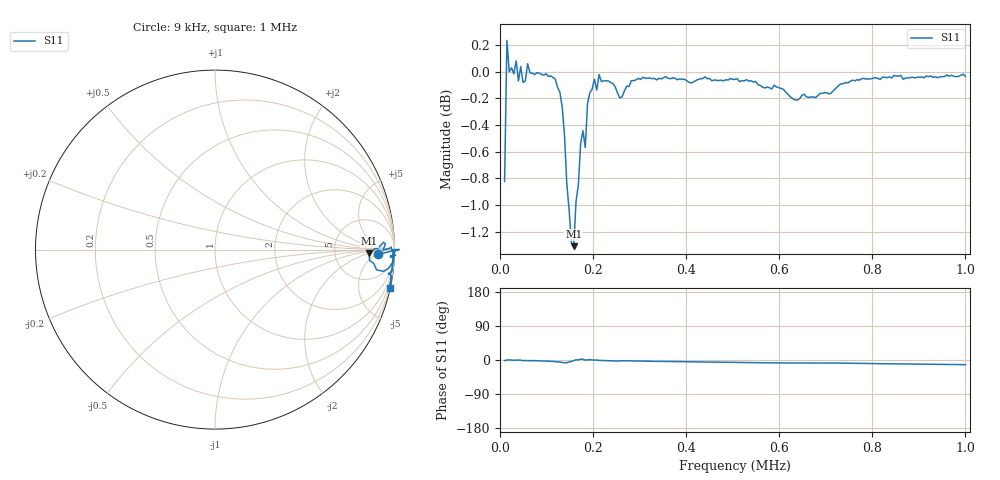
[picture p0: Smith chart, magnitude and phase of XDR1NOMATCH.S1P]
!Agilent Technologies,E5071C,MY46100305,A.07.02
!Date: Fri Jan 01 00:10:18 1988
!Data & Calibration Information:
!Freq	S11:SOLT1(ON)
# Hz S MA R 50
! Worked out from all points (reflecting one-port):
!   201 points, 9 kHz to 1 MHz, reference 50 ohm
!   lowest |S11| = -1.3 dB at 157.7 kHz (marker M1), VSWR 13.29, Z = 647 - j105 ohm
!   phase of S11 starts at -2 deg and turns -11 deg over the sweep
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9000  0.9095 -1.6
13955  1.027 0.0
18910  1 -0.0
28820  0.9981 -1.0
33775  1.009 -0.1
38730  0.9919 -0.3
43685  1.004 -0.4
48640  0.9907 -1.7
58550  1.007 -1.8
103145  0.9958 -3.0
132875  0.9696 -6.3
142785  0.9075 -7.2
152695  0.8626 -4.0
157650  0.8601 -1.4
162605  0.8939 0.5
167560  0.9065 0.4
172515  0.9399 2.5
182425  0.9365 -0.1
187380  0.9729 0.4
192335  0.982 0.8
212155  0.9975 -1.1
256750  0.9775 -2.3
380625  0.993 -4.4
504500  0.9933 -6.2
628375  0.977 -7.9
752250  0.9916 -8.7
876125  0.9946 -10.5
1000000  0.9959 -12.3
